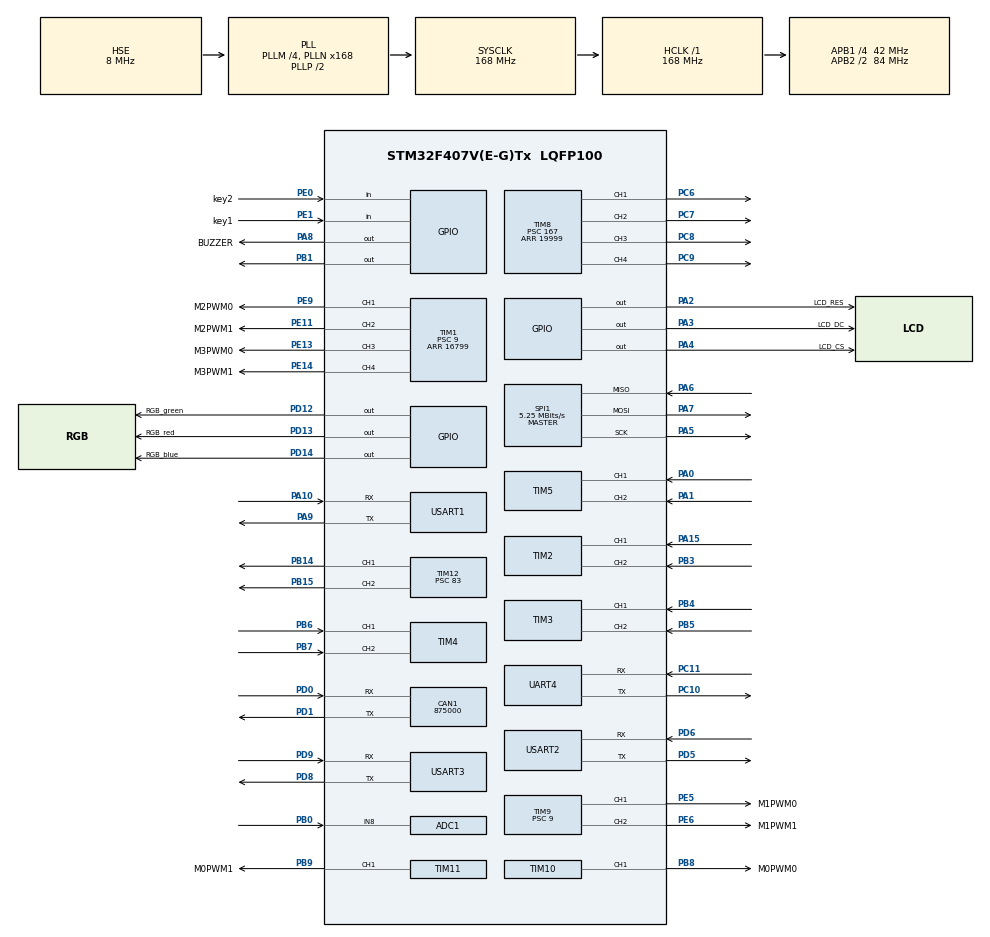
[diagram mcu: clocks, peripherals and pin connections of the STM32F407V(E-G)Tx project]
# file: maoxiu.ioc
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ADC1.Channel-0\#ChannelRegularConversion=ADC_CHANNEL_8
ADC1.ContinuousConvMode=ENABLE
ADC1.DMAContinuousRequests=ENABLE
ADC1.NbrOfConversionFlag=1
ADC1.Rank-0\#ChannelRegularConversion=1
ADC1.SamplingTime-0\#ChannelRegularConversion=ADC_SAMPLETIME_84CYCLES
ADC1.master=1
CAN1.CalculateBaudRate=875000
CAN1.CalculateTimeBit=1142
CAN1.CalculateTimeQuantum=380.95238095238096
Dma.ADC1.0.Direction=DMA_PERIPH_TO_MEMORY
Dma.ADC1.0.FIFOMode=DMA_FIFOMODE_DISABLE
Dma.ADC1.0.Instance=DMA2_Stream0
Dma.ADC1.0.MemDataAlignment=DMA_MDATAALIGN_HALFWORD
Dma.ADC1.0.MemInc=DMA_MINC_ENABLE
Dma.ADC1.0.Mode=DMA_CIRCULAR
Dma.ADC1.0.PeriphDataAlignment=DMA_PDATAALIGN_HALFWORD
Dma.ADC1.0.PeriphInc=DMA_PINC_DISABLE
Dma.ADC1.0.Priority=DMA_PRIORITY_LOW
Dma.Request0=ADC1
Dma.Request1=USART1_RX
Dma.Request2=USART1_TX
Dma.Request3=USART2_RX
Dma.Request4=USART2_TX
Dma.Request5=USART3_RX
Dma.Request6=USART3_TX
Dma.Request7=UART4_RX
Dma.Request8=UART4_TX
Dma.UART4_RX.7.Direction=DMA_PERIPH_TO_MEMORY
Dma.UART4_RX.7.FIFOMode=DMA_FIFOMODE_DISABLE
Dma.UART4_RX.7.Instance=DMA1_Stream2
Dma.UART4_RX.7.MemDataAlignment=DMA_MDATAALIGN_BYTE
Dma.UART4_RX.7.MemInc=DMA_MINC_ENABLE
Dma.UART4_RX.7.Mode=DMA_NORMAL
Dma.UART4_RX.7.PeriphDataAlignment=DMA_PDATAALIGN_BYTE
Dma.UART4_RX.7.PeriphInc=DMA_PINC_DISABLE
Dma.UART4_RX.7.Priority=DMA_PRIORITY_LOW
Dma.UART4_TX.8.Direction=DMA_MEMORY_TO_PERIPH
Dma.UART4_TX.8.FIFOMode=DMA_FIFOMODE_DISABLE
Dma.UART4_TX.8.Instance=DMA1_Stream4
Dma.UART4_TX.8.MemDataAlignment=DMA_MDATAALIGN_BYTE
Dma.UART4_TX.8.MemInc=DMA_MINC_ENABLE
Dma.UART4_TX.8.Mode=DMA_NORMAL
Dma.UART4_TX.8.PeriphDataAlignment=DMA_PDATAALIGN_BYTE
Dma.UART4_TX.8.PeriphInc=DMA_PINC_DISABLE
Dma.UART4_TX.8.Priority=DMA_PRIORITY_LOW
Dma.USART1_RX.1.Direction=DMA_PERIPH_TO_MEMORY
Dma.USART1_RX.1.FIFOMode=DMA_FIFOMODE_DISABLE
Dma.USART1_RX.1.Instance=DMA2_Stream2
Dma.USART1_RX.1.MemDataAlignment=DMA_MDATAALIGN_BYTE
Dma.USART1_RX.1.MemInc=DMA_MINC_ENABLE
Dma.USART1_RX.1.Mode=DMA_NORMAL
Dma.USART1_RX.1.PeriphDataAlignment=DMA_PDATAALIGN_BYTE
Dma.USART1_RX.1.PeriphInc=DMA_PINC_DISABLE
Dma.USART1_RX.1.Priority=DMA_PRIORITY_LOW
Dma.USART1_TX.2.Direction=DMA_MEMORY_TO_PERIPH
Dma.USART1_TX.2.FIFOMode=DMA_FIFOMODE_DISABLE
Dma.USART1_TX.2.Instance=DMA2_Stream7
Dma.USART1_TX.2.MemDataAlignment=DMA_MDATAALIGN_BYTE
Dma.USART1_TX.2.MemInc=DMA_MINC_ENABLE
Dma.USART1_TX.2.Mode=DMA_NORMAL
Dma.USART1_TX.2.PeriphDataAlignment=DMA_PDATAALIGN_BYTE
Dma.USART1_TX.2.PeriphInc=DMA_PINC_DISABLE
Dma.USART1_TX.2.Priority=DMA_PRIORITY_LOW
Dma.USART2_RX.3.Direction=DMA_PERIPH_TO_MEMORY
Dma.USART2_RX.3.FIFOMode=DMA_FIFOMODE_DISABLE
Dma.USART2_RX.3.Instance=DMA1_Stream5
Dma.USART2_RX.3.MemDataAlignment=DMA_MDATAALIGN_BYTE
Dma.USART2_RX.3.MemInc=DMA_MINC_ENABLE
Dma.USART2_RX.3.Mode=DMA_NORMAL
Dma.USART2_RX.3.PeriphDataAlignment=DMA_PDATAALIGN_BYTE
Dma.USART2_RX.3.PeriphInc=DMA_PINC_DISABLE
Dma.USART2_RX.3.Priority=DMA_PRIORITY_LOW
Dma.USART2_TX.4.Direction=DMA_MEMORY_TO_PERIPH
Dma.USART2_TX.4.FIFOMode=DMA_FIFOMODE_DISABLE
Dma.USART2_TX.4.Instance=DMA1_Stream6
Dma.USART2_TX.4.MemDataAlignment=DMA_MDATAALIGN_BYTE
Dma.USART2_TX.4.MemInc=DMA_MINC_ENABLE
Dma.USART2_TX.4.Mode=DMA_NORMAL
Dma.USART2_TX.4.PeriphDataAlignment=DMA_PDATAALIGN_BYTE
Dma.USART2_TX.4.PeriphInc=DMA_PINC_DISABLE
Dma.USART2_TX.4.Priority=DMA_PRIORITY_LOW
Dma.USART3_RX.5.Direction=DMA_PERIPH_TO_MEMORY
Dma.USART3_RX.5.FIFOMode=DMA_FIFOMODE_DISABLE
Dma.USART3_RX.5.Instance=DMA1_Stream1
Dma.USART3_RX.5.MemDataAlignment=DMA_MDATAALIGN_BYTE
Dma.USART3_RX.5.MemInc=DMA_MINC_ENABLE
Dma.USART3_RX.5.Mode=DMA_NORMAL
Dma.USART3_RX.5.PeriphDataAlignment=DMA_PDATAALIGN_BYTE
Dma.USART3_RX.5.PeriphInc=DMA_PINC_DISABLE
Dma.USART3_RX.5.Priority=DMA_PRIORITY_LOW
Dma.USART3_TX.6.Direction=DMA_MEMORY_TO_PERIPH
Dma.USART3_TX.6.FIFOMode=DMA_FIFOMODE_DISABLE
Dma.USART3_TX.6.Instance=DMA1_Stream3
Dma.USART3_TX.6.MemDataAlignment=DMA_MDATAALIGN_BYTE
Dma.USART3_TX.6.MemInc=DMA_MINC_ENABLE
Dma.USART3_TX.6.Mode=DMA_NORMAL
Dma.USART3_TX.6.PeriphDataAlignment=DMA_PDATAALIGN_BYTE
Dma.USART3_TX.6.PeriphInc=DMA_PINC_DISABLE
Dma.USART3_TX.6.Priority=DMA_PRIORITY_LOW
FREERTOS.INCLUDE_vTaskDelayUntil=1
FREERTOS.Tasks01=KeyTask,-3,128,Key_Task_Proc,Default,NULL,Dynamic,NULL,NULL;RGBTask,-3,128,RGB_Task_Proc,Default,NULL,Dynamic,NULL,NULL;PCTask,-3,128,PC_Task_Proc,Default,NULL,Dynamic,NULL,NULL;LCDTask,-3,256,LCD_Task_Proc,Default,NULL,Dynamic,NULL,NULL;BuzzerTask,-3,128,Buzzer_Task_Proc,Default,NULL,Dynamic,NULL,NULL;MotorTask,-3,128,Motor_Task_Proc,Default,NULL,Dynamic,NULL,NULL;EncoderTask,-3,128,Encoder_Task_Proc,Default,NULL,Dynamic,NULL,NULL;BleTask,-3,128,Ble_Task_Proc,Default,NULL,Dynamic,NULL,NULL;IMUTask,-3,256,IMU_Task_Proc,Default,NULL,Dynamic,NULL,NULL;ServoTask,-3,128,Servo_Task_Proc,Default,NULL,Dynamic,NULL,NULL
FREERTOS.configGENERATE_RUN_TIME_STATS=1
FREERTOS.configUSE_APPLICATION_TASK_TAG=1
FREERTOS.configUSE_STATS_FORMATTING_FUNCTIONS=1
FREERTOS.configUSE_TIMERS=1
Mcu.Family=STM32F4
Mcu.Name=STM32F407V(E-G)Tx
Mcu.Package=LQFP100
NVIC.DMA1_Stream3_IRQn=true\:5\:0\:false\:false\:true\:true\:false\:true\:true
NVIC.DMA1_Stream4_IRQn=true\:5\:0\:false\:false\:true\:true\:true\:true\:true
NVIC.DMA1_Stream6_IRQn=true\:5\:0\:false\:false\:true\:true\:false\:true\:true
NVIC.DMA2_Stream0_IRQn=true\:5\:0\:false\:false\:true\:true\:false\:true\:true
NVIC.DMA2_Stream7_IRQn=true\:5\:0\:false\:false\:true\:true\:false\:true\:true
NVIC.PriorityGroup=NVIC_PRIORITYGROUP_4
NVIC.SPI1_IRQn=true\:5\:0\:false\:false\:true\:true\:true\:true\:true
NVIC.TIM2_IRQn=true\:5\:0\:false\:false\:true\:true\:true\:true\:true
NVIC.TIM3_IRQn=true\:5\:0\:false\:false\:true\:true\:true\:true\:true
NVIC.TIM4_IRQn=true\:5\:0\:false\:false\:true\:true\:true\:true\:true
NVIC.TIM5_IRQn=true\:5\:0\:false\:false\:true\:true\:true\:true\:true
NVIC.TIM7_IRQn=true\:5\:0\:false\:false\:true\:true\:true\:true\:true
NVIC.TIM8_TRG_COM_TIM14_IRQn=true\:5\:0\:false\:false\:true\:false\:false\:true\:true
NVIC.TimeBase=TIM8_TRG_COM_TIM14_IRQn
NVIC.TimeBaseIP=TIM14
NVIC.UART4_IRQn=true\:5\:0\:false\:false\:true\:true\:true\:true\:true
NVIC.USART1_IRQn=true\:5\:0\:false\:false\:true\:true\:true\:true\:true
NVIC.USART2_IRQn=true\:5\:0\:false\:false\:true\:true\:true\:true\:true
NVIC.USART3_IRQn=true\:5\:0\:false\:false\:true\:true\:true\:true\:true
PA0-WKUP.Signal=S_TIM5_CH1
PA1.Signal=S_TIM5_CH2
PA10.Mode=Asynchronous
PA10.Signal=USART1_RX
PA13.Mode=Serial_Wire
PA13.Signal=SYS_JTMS-SWDIO
PA14.Mode=Serial_Wire
PA14.Signal=SYS_JTCK-SWCLK
PA15.Signal=S_TIM2_CH1_ETR
PA2.GPIO_Label=LCD_RES
PA2.Signal=GPIO_Output
PA3.GPIO_Label=LCD_DC
PA3.Signal=GPIO_Output
PA4.GPIO_Label=LCD_CS
PA4.Signal=GPIO_Output
PA5.Mode=Full_Duplex_Master
PA5.Signal=SPI1_SCK
PA6.Mode=Full_Duplex_Master
PA6.Signal=SPI1_MISO
PA7.Mode=Full_Duplex_Master
PA7.Signal=SPI1_MOSI
PA8.GPIO_Label=BUZZER
PA8.Signal=GPIO_Output
PA9.Mode=Asynchronous
PA9.Signal=USART1_TX
PB0.Signal=ADCx_IN8
PB1.Signal=GPIO_Output
PB14.Signal=S_TIM12_CH1
PB15.Signal=S_TIM12_CH2
PB3.Signal=S_TIM2_CH2
PB4.Signal=S_TIM3_CH1
PB5.Signal=S_TIM3_CH2
PB6.Signal=S_TIM4_CH1
PB7.Signal=S_TIM4_CH2
PB8.GPIO_Label=M0PWM0
PB8.Signal=S_TIM10_CH1
PB9.GPIO_Label=M0PWM1
PB9.Signal=S_TIM11_CH1
PC10.Mode=Asynchronous
PC10.Signal=UART4_TX
PC11.Mode=Asynchronous
PC11.Signal=UART4_RX
PC6.Signal=S_TIM8_CH1
PC7.Signal=S_TIM8_CH2
PC8.Signal=S_TIM8_CH3
PC9.Signal=S_TIM8_CH4
PD0.Mode=CAN_Activate
PD0.Signal=CAN1_RX
PD1.Mode=CAN_Activate
PD1.Signal=CAN1_TX
PD12.GPIO_Label=RGB_green
PD12.PinState=GPIO_PIN_SET
PD12.Signal=GPIO_Output
PD13.GPIO_Label=RGB_red
PD13.PinState=GPIO_PIN_SET
PD13.Signal=GPIO_Output
PD14.GPIO_Label=RGB_blue
PD14.PinState=GPIO_PIN_SET
PD14.Signal=GPIO_Output
PD5.Mode=Asynchronous
PD5.Signal=USART2_TX
PD6.Mode=Asynchronous
PD6.Signal=USART2_RX
PD8.Mode=Asynchronous
PD8.Signal=USART3_TX
PD9.Mode=Asynchronous
PD9.Signal=USART3_RX
PE0.GPIO_Label=key2
PE0.GPIO_PuPd=GPIO_PULLUP
PE0.Signal=GPIO_Input
PE1.GPIO_Label=key1
PE1.GPIO_PuPd=GPIO_PULLUP
PE1.Signal=GPIO_Input
PE11.GPIO_Label=M2PWM1
PE11.Signal=S_TIM1_CH2
PE13.GPIO_Label=M3PWM0
PE13.Signal=S_TIM1_CH3
PE14.GPIO_Label=M3PWM1
PE14.Signal=S_TIM1_CH4
PE5.GPIO_Label=M1PWM0
PE5.Signal=S_TIM9_CH1
PE6.GPIO_Label=M1PWM1
PE6.Signal=S_TIM9_CH2
PE9.GPIO_Label=M2PWM0
PE9.Signal=S_TIM1_CH1
PH0-OSC_IN.Mode=HSE-External-Oscillator
PH0-OSC_IN.Signal=RCC_OSC_IN
PH1-OSC_OUT.Mode=HSE-External-Oscillator
PH1-OSC_OUT.Signal=RCC_OSC_OUT
ProjectManager.HeapSize=0x200
ProjectManager.StackSize=0x400
ProjectManager.TargetToolchain=Makefile
RCC.48MHZClocksFreq_Value=84000000
RCC.AHBFreq_Value=168000000
RCC.APB1CLKDivider=RCC_HCLK_DIV4
RCC.APB1Freq_Value=42000000
RCC.APB1TimFreq_Value=84000000
RCC.APB2CLKDivider=RCC_HCLK_DIV2
RCC.APB2Freq_Value=84000000
RCC.APB2TimFreq_Value=168000000
RCC.CortexFreq_Value=168000000
RCC.HCLKFreq_Value=168000000
RCC.HSE_VALUE=8000000
RCC.HSI_VALUE=16000000
RCC.LSE_VALUE=32768
RCC.PLLM=4
RCC.PLLN=168
RCC.PLLSourceVirtual=RCC_PLLSOURCE_HSE
RCC.SYSCLKFreq_VALUE=168000000
RCC.SYSCLKSource=RCC_SYSCLKSOURCE_PLLCLK
RCC.VCOOutputFreq_Value=336000000
SH.ADCx_IN8.0=ADC1_IN8,IN8
SH.S_TIM10_CH1.0=TIM10_CH1,PWM Generation1 CH1
SH.S_TIM11_CH1.0=TIM11_CH1,PWM Generation1 CH1
SH.S_TIM12_CH1.0=TIM12_CH1,PWM Generation1 CH1
SH.S_TIM12_CH2.0=TIM12_CH2,PWM Generation2 CH2
SH.S_TIM1_CH1.0=TIM1_CH1,PWM Generation1 CH1
SH.S_TIM1_CH2.0=TIM1_CH2,PWM Generation2 CH2
SH.S_TIM1_CH3.0=TIM1_CH3,PWM Generation3 CH3
SH.S_TIM1_CH4.0=TIM1_CH4,PWM Generation4 CH4
SH.S_TIM2_CH1_ETR.0=TIM2_CH1,Encoder_Interface
SH.S_TIM2_CH2.0=TIM2_CH2,Encoder_Interface
SH.S_TIM3_CH1.0=TIM3_CH1,Encoder_Interface
SH.S_TIM3_CH2.0=TIM3_CH2,Encoder_Interface
SH.S_TIM4_CH1.0=TIM4_CH1,Encoder_Interface
SH.S_TIM4_CH2.0=TIM4_CH2,Encoder_Interface
SH.S_TIM5_CH1.0=TIM5_CH1,Encoder_Interface
SH.S_TIM5_CH2.0=TIM5_CH2,Encoder_Interface
SH.S_TIM8_CH1.0=TIM8_CH1,PWM Generation1 CH1
SH.S_TIM8_CH2.0=TIM8_CH2,PWM Generation2 CH2
SH.S_TIM8_CH3.0=TIM8_CH3,PWM Generation3 CH3
SH.S_TIM8_CH4.0=TIM8_CH4,PWM Generation4 CH4
SH.S_TIM9_CH1.0=TIM9_CH1,PWM Generation1 CH1
SH.S_TIM9_CH2.0=TIM9_CH2,PWM Generation2 CH2
SPI1.BaudRatePrescaler=SPI_BAUDRATEPRESCALER_16
SPI1.CLKPhase=SPI_PHASE_2EDGE
SPI1.CLKPolarity=SPI_POLARITY_HIGH
SPI1.CalculateBaudRate=5.25 MBits/s
SPI1.Direction=SPI_DIRECTION_2LINES
SPI1.Mode=SPI_MODE_MASTER
SPI1.VirtualType=VM_MASTER
TIM1.Channel-PWM\ Generation1\ CH1=TIM_CHANNEL_1
TIM1.Channel-PWM\ Generation2\ CH2=TIM_CHANNEL_2
TIM1.Channel-PWM\ Generation3\ CH3=TIM_CHANNEL_3
TIM1.Channel-PWM\ Generation4\ CH4=TIM_CHANNEL_4
TIM1.Period=16799
TIM1.Prescaler=9
TIM10.Channel=TIM_CHANNEL_1
TIM10.Period=16799
TIM10.Prescaler=9
TIM11.Channel=TIM_CHANNEL_1
TIM11.Period=16799
TIM11.Prescaler=9
TIM12.Channel-PWM\ Generation1\ CH1=TIM_CHANNEL_1
TIM12.Channel-PWM\ Generation2\ CH2=TIM_CHANNEL_2
TIM12.Period=19999
TIM12.Prescaler=83
TIM2.AutoReloadPreload=TIM_AUTORELOAD_PRELOAD_DISABLE
TIM2.EncoderMode=TIM_ENCODERMODE_TI12
TIM3.AutoReloadPreload=TIM_AUTORELOAD_PRELOAD_DISABLE
TIM3.EncoderMode=TIM_ENCODERMODE_TI12
TIM4.EncoderMode=TIM_ENCODERMODE_TI12
TIM5.EncoderMode=TIM_ENCODERMODE_TI12
TIM7.Period=99
TIM7.Prescaler=83
TIM8.Channel-PWM\ Generation1\ CH1=TIM_CHANNEL_1
TIM8.Channel-PWM\ Generation2\ CH2=TIM_CHANNEL_2
TIM8.Channel-PWM\ Generation3\ CH3=TIM_CHANNEL_3
TIM8.Channel-PWM\ Generation4\ CH4=TIM_CHANNEL_4
TIM8.Period=19999
TIM8.Prescaler=167
TIM9.Channel-PWM\ Generation1\ CH1=TIM_CHANNEL_1
TIM9.Channel-PWM\ Generation2\ CH2=TIM_CHANNEL_2
TIM9.Period=16799
TIM9.Prescaler=9
UART4.VirtualMode=Asynchronous
USART1.VirtualMode=VM_ASYNC
USART2.VirtualMode=VM_ASYNC
USART3.VirtualMode=VM_ASYNC
VP_FREERTOS_VS_CMSIS_V1.Mode=CMSIS_V1
VP_SYS_VS_tim14.Mode=TIM14
VP_TIM10_VS_ClockSourceINT.Mode=Enable_Timer
VP_TIM11_VS_ClockSourceINT.Mode=Enable_Timer
VP_TIM6_VS_ClockSourceINT.Mode=Enable_Timer
VP_TIM7_VS_ClockSourceINT.Mode=Enable_Timer
board=custom

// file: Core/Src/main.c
/* USER CODE BEGIN Header */
/**
  ******************************************************************************
  * @file           : main.c
  * @brief          : Main program body
  ******************************************************************************
  * @attention
  *
  * Copyright (c) 2024 STMicroelectronics.
  * All rights reserved.
  *
  * This software is licensed under terms that can be found in the LICENSE file
  * in the root directory of this software component.
  * If no LICENSE file comes with this software, it is provided AS-IS.
  *
  ******************************************************************************
  */
/* USER CODE END Header */
#include "main.h"
#include "cmsis_os.h"
#include "adc.h"
#include "can.h"
#include "dma.h"
#include "spi.h"
#include "tim.h"
#include "usart.h"
#include "gpio.h"

/* USER CODE BEGIN Includes */
extern void app_fatal(void);
#include "pc_proc.h"

u8 PCdatabufRx[200];
u8 PCdatabufTx[200];
u8 InfodatabufRx[200];
u8 InfodatabufRx[200];
/* USER CODE END Includes */

void SystemClock_Config(void);
void MX_FREERTOS_Init(void);

int main(void)
{

  /* MCU Configuration--------------------------------------------------------*/

  /* Reset of all peripherals, Initializes the Flash interface and the Systick. */
  HAL_Init();

  /* Configure the system clock */
  SystemClock_Config();

  /* Initialize all configured peripherals */
  MX_GPIO_Init();
  MX_DMA_Init();
  MX_CAN1_Init();
  MX_SPI1_Init();
  MX_TIM1_Init();
  MX_TIM2_Init();
  MX_TIM3_Init();
  MX_TIM4_Init();
  MX_TIM5_Init();
  MX_TIM6_Init();
  MX_TIM9_Init();
  MX_TIM10_Init();
  MX_USART1_UART_Init();
  MX_USART2_UART_Init();
  MX_USART3_UART_Init();
  MX_ADC1_Init();
  MX_TIM11_Init();
  MX_TIM12_Init();
  MX_UART4_Init();
  MX_TIM7_Init();
  MX_TIM8_Init();
  /* USER CODE BEGIN 2 */

	HAL_GPIO_WritePin(GPIOA, LCD_CS_Pin, GPIO_PIN_RESET);

	HAL_UARTEx_ReceiveToIdle_DMA(&huart1, PCdatabufRx, 200);
    __HAL_DMA_DISABLE_IT(huart1.hdmarx, DMA_IT_HT);
	HAL_UARTEx_ReceiveToIdle_DMA(&huart3, InfodatabufRx, 200);
  /* USER CODE END 2 */

  /* Call init function for freertos objects (in freertos.c) */
  MX_FREERTOS_Init();

  /* Start scheduler */
  osKernelStart();

  /* We should never get here as control is now taken by the scheduler */
  /* Infinite loop */
  while (1)
  {

  }
}

void SystemClock_Config(void)
{
  RCC_OscInitTypeDef RCC_OscInitStruct = {0};
  RCC_ClkInitTypeDef RCC_ClkInitStruct = {0};

  /** Configure the main internal regulator output voltage
  */
  __HAL_RCC_PWR_CLK_ENABLE();
  __HAL_PWR_VOLTAGESCALING_CONFIG(PWR_REGULATOR_VOLTAGE_SCALE1);

  /** Initializes the RCC Oscillators according to the specified parameters
  * in the RCC_OscInitTypeDef structure.
  */
  RCC_OscInitStruct.OscillatorType = RCC_OSCILLATORTYPE_HSE;
  RCC_OscInitStruct.HSEState = RCC_HSE_ON;
  RCC_OscInitStruct.PLL.PLLState = RCC_PLL_ON;
  RCC_OscInitStruct.PLL.PLLSource = RCC_PLLSOURCE_HSE;
  RCC_OscInitStruct.PLL.PLLM = 4;
  RCC_OscInitStruct.PLL.PLLN = 168;
  RCC_OscInitStruct.PLL.PLLP = RCC_PLLP_DIV2;
  RCC_OscInitStruct.PLL.PLLQ = 4;
  if (HAL_RCC_OscConfig(&RCC_OscInitStruct) != HAL_OK)
  {
    Error_Handler();
  }

  /** Initializes the CPU, AHB and APB buses clocks
  */
  RCC_ClkInitStruct.ClockType = RCC_CLOCKTYPE_HCLK|RCC_CLOCKTYPE_SYSCLK
                              |RCC_CLOCKTYPE_PCLK1|RCC_CLOCKTYPE_PCLK2;
  RCC_ClkInitStruct.SYSCLKSource = RCC_SYSCLKSOURCE_PLLCLK;
  RCC_ClkInitStruct.AHBCLKDivider = RCC_SYSCLK_DIV1;
  RCC_ClkInitStruct.APB1CLKDivider = RCC_HCLK_DIV4;
  RCC_ClkInitStruct.APB2CLKDivider = RCC_HCLK_DIV2;

  if (HAL_RCC_ClockConfig(&RCC_ClkInitStruct, FLASH_LATENCY_5) != HAL_OK)
  {
    Error_Handler();
  }
}

/* USER CODE BEGIN 4 */
void HAL_UARTEx_RxEventCallback(UART_HandleTypeDef *huart, uint16_t Size)
{

	if(huart->Instance == USART3)
	{
		//PC_Data_Rx_Proc(Size);
		HAL_UARTEx_ReceiveToIdle_DMA(&huart3, InfodatabufRx, 200);
	}
	else if(huart->Instance == USART1)
	{
		PC_Data_Rx_Proc(Size);

		HAL_UARTEx_ReceiveToIdle_DMA(&huart1, PCdatabufRx, 200);
    __HAL_DMA_DISABLE_IT(huart1.hdmarx, DMA_IT_HT);
	}
}
/* USER CODE END 4 */

void HAL_TIM_PeriodElapsedCallback(TIM_HandleTypeDef *htim)
{
  if (htim->Instance == TIM14) {
    HAL_IncTick();
  }
}

void Error_Handler(void)
{
  /* USER CODE BEGIN Error_Handler_Debug */
  app_fatal();
  /* User can add his own implementation to report the HAL error return state */
  __disable_irq();
  while (1)
  {
  }
  /* USER CODE END Error_Handler_Debug */
}

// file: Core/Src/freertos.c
/* USER CODE BEGIN Header */
/**
  ******************************************************************************
  * File Name          : freertos.c
  * Description        : Code for freertos applications
  ******************************************************************************
  * @attention
  *
  * Copyright (c) 2023 STMicroelectronics.
  * All rights reserved.
  *
  * This software is licensed under terms that can be found in the LICENSE file
  * in the root directory of this software component.
  * If no LICENSE file comes with this software, it is provided AS-IS.
  *
  ******************************************************************************
  */
/* USER CODE END Header */

#include "FreeRTOS.h"
#include "task.h"
#include "main.h"
#include "cmsis_os.h"

/* USER CODE BEGIN Includes */
#define APP_RTOS_EXTERNAL_TASKS 1
extern void app_tasks_init(void);
/* USER CODE END Includes */

/* USER CODE BEGIN Variables */
#if !APP_RTOS_EXTERNAL_TASKS
/* USER CODE END Variables */
osThreadId KeyTaskHandle;
osThreadId RGBTaskHandle;
osThreadId PCTaskHandle;
osThreadId LCDTaskHandle;
osThreadId BuzzerTaskHandle;
osThreadId MotorTaskHandle;
osThreadId EncoderTaskHandle;
osThreadId BleTaskHandle;
osThreadId IMUTaskHandle;
osThreadId ServoTaskHandle;

/* USER CODE BEGIN FunctionPrototypes */
#endif
#if !APP_RTOS_EXTERNAL_TASKS
/* USER CODE END FunctionPrototypes */

void Key_Task_Proc(void const * argument);
void RGB_Task_Proc(void const * argument);
void PC_Task_Proc(void const * argument);
void LCD_Task_Proc(void const * argument);
void Buzzer_Task_Proc(void const * argument);
void Motor_Task_Proc(void const * argument);
void Encoder_Task_Proc(void const * argument);
void Ble_Task_Proc(void const * argument);
void IMU_Task_Proc(void const * argument);
void Servo_Task_Proc(void const * argument);

void MX_FREERTOS_Init(void); /* (MISRA C 2004 rule 8.1) */

/* GetIdleTaskMemory prototype (linked to static allocation support) */
void vApplicationGetIdleTaskMemory( StaticTask_t **ppxIdleTaskTCBBuffer, StackType_t **ppxIdleTaskStackBuffer, uint32_t *pulIdleTaskStackSize );

/* GetTimerTaskMemory prototype (linked to static allocation support) */
void vApplicationGetTimerTaskMemory( StaticTask_t **ppxTimerTaskTCBBuffer, StackType_t **ppxTimerTaskStackBuffer, uint32_t *pulTimerTaskStackSize );

/* Hook prototypes */
void configureTimerForRunTimeStats(void);
unsigned long getRunTimeCounterValue(void);

/* USER CODE BEGIN 1 */
#endif
__weak void configureTimerForRunTimeStats(void) {}
__weak unsigned long getRunTimeCounterValue(void) {return 0;}
/* USER CODE END 1 */

/* USER CODE BEGIN GET_IDLE_TASK_MEMORY */
static StaticTask_t xIdleTaskTCBBuffer;
static StackType_t xIdleStack[configMINIMAL_STACK_SIZE];

void vApplicationGetIdleTaskMemory( StaticTask_t **ppxIdleTaskTCBBuffer, StackType_t **ppxIdleTaskStackBuffer, uint32_t *pulIdleTaskStackSize )
{
  *ppxIdleTaskTCBBuffer = &xIdleTaskTCBBuffer;
  *ppxIdleTaskStackBuffer = &xIdleStack[0];
  *pulIdleTaskStackSize = configMINIMAL_STACK_SIZE;
  /* place for user code */
}
/* USER CODE END GET_IDLE_TASK_MEMORY */

/* USER CODE BEGIN GET_TIMER_TASK_MEMORY */
static StaticTask_t xTimerTaskTCBBuffer;
static StackType_t xTimerStack[configTIMER_TASK_STACK_DEPTH];

void vApplicationGetTimerTaskMemory( StaticTask_t **ppxTimerTaskTCBBuffer, StackType_t **ppxTimerTaskStackBuffer, uint32_t *pulTimerTaskStackSize )
{
  *ppxTimerTaskTCBBuffer = &xTimerTaskTCBBuffer;
  *ppxTimerTaskStackBuffer = &xTimerStack[0];
  *pulTimerTaskStackSize = configTIMER_TASK_STACK_DEPTH;
  /* place for user code */
}
/* USER CODE END GET_TIMER_TASK_MEMORY */

void MX_FREERTOS_Init(void) {
  /* USER CODE BEGIN Init */
app_tasks_init();
/* USER CODE END Init */

  /* USER CODE BEGIN RTOS_QUEUES */
#if !APP_RTOS_EXTERNAL_TASKS
/* USER CODE END RTOS_QUEUES */

  /* Create the thread(s) */
  /* definition and creation of KeyTask */
  osThreadDef(KeyTask, Key_Task_Proc, osPriorityIdle, 0, 128);
  KeyTaskHandle = osThreadCreate(osThread(KeyTask), NULL);

  /* definition and creation of RGBTask */
  osThreadDef(RGBTask, RGB_Task_Proc, osPriorityIdle, 0, 128);
  RGBTaskHandle = osThreadCreate(osThread(RGBTask), NULL);

  /* definition and creation of PCTask */
  osThreadDef(PCTask, PC_Task_Proc, osPriorityIdle, 0, 128);
  PCTaskHandle = osThreadCreate(osThread(PCTask), NULL);

  /* definition and creation of LCDTask */
  osThreadDef(LCDTask, LCD_Task_Proc, osPriorityIdle, 0, 256);
  LCDTaskHandle = osThreadCreate(osThread(LCDTask), NULL);

  /* definition and creation of BuzzerTask */
  osThreadDef(BuzzerTask, Buzzer_Task_Proc, osPriorityIdle, 0, 128);
  BuzzerTaskHandle = osThreadCreate(osThread(BuzzerTask), NULL);

  /* definition and creation of MotorTask */
  osThreadDef(MotorTask, Motor_Task_Proc, osPriorityIdle, 0, 128);
  MotorTaskHandle = osThreadCreate(osThread(MotorTask), NULL);

  /* definition and creation of EncoderTask */
  osThreadDef(EncoderTask, Encoder_Task_Proc, osPriorityIdle, 0, 128);
  EncoderTaskHandle = osThreadCreate(osThread(EncoderTask), NULL);

  /* definition and creation of BleTask */
  osThreadDef(BleTask, Ble_Task_Proc, osPriorityIdle, 0, 128);
  BleTaskHandle = osThreadCreate(osThread(BleTask), NULL);

  /* definition and creation of IMUTask */
  osThreadDef(IMUTask, IMU_Task_Proc, osPriorityIdle, 0, 256);
  IMUTaskHandle = osThreadCreate(osThread(IMUTask), NULL);

  /* definition and creation of ServoTask */
  osThreadDef(ServoTask, Servo_Task_Proc, osPriorityIdle, 0, 128);
  ServoTaskHandle = osThreadCreate(osThread(ServoTask), NULL);

  /* USER CODE BEGIN RTOS_THREADS */
#endif
/* USER CODE END RTOS_THREADS */

}

/* USER CODE BEGIN Header_Key_Task_Proc */
#if !APP_RTOS_EXTERNAL_TASKS
/* USER CODE END Header_Key_Task_Proc */
void Key_Task_Proc(void const * argument)
{
  for(;;)
  {
    osDelay(1);
  }
}

void RGB_Task_Proc(void const * argument)
{
  for(;;)
  {
    osDelay(1);
  }
}

void PC_Task_Proc(void const * argument)
{
  for(;;)
  {
    osDelay(1);
  }
}

void LCD_Task_Proc(void const * argument)
{
  for(;;)
  {
    osDelay(1);
  }
}

void Buzzer_Task_Proc(void const * argument)
{
  for(;;)
  {
    osDelay(1);
  }
}

void Motor_Task_Proc(void const * argument)
{
  for(;;)
  {
    osDelay(1);
  }
}

void Encoder_Task_Proc(void const * argument)
{
  for(;;)
  {
    osDelay(1);
  }
}

void Ble_Task_Proc(void const * argument)
{
  for(;;)
  {
    osDelay(1);
  }
}

void IMU_Task_Proc(void const * argument)
{
  for(;;)
  {
    osDelay(1);
  }
}

void Servo_Task_Proc(void const * argument)
{
  for(;;)
  {
    osDelay(1);
  }
}

/* USER CODE BEGIN Application */
#endif
/* USER CODE END Application */
